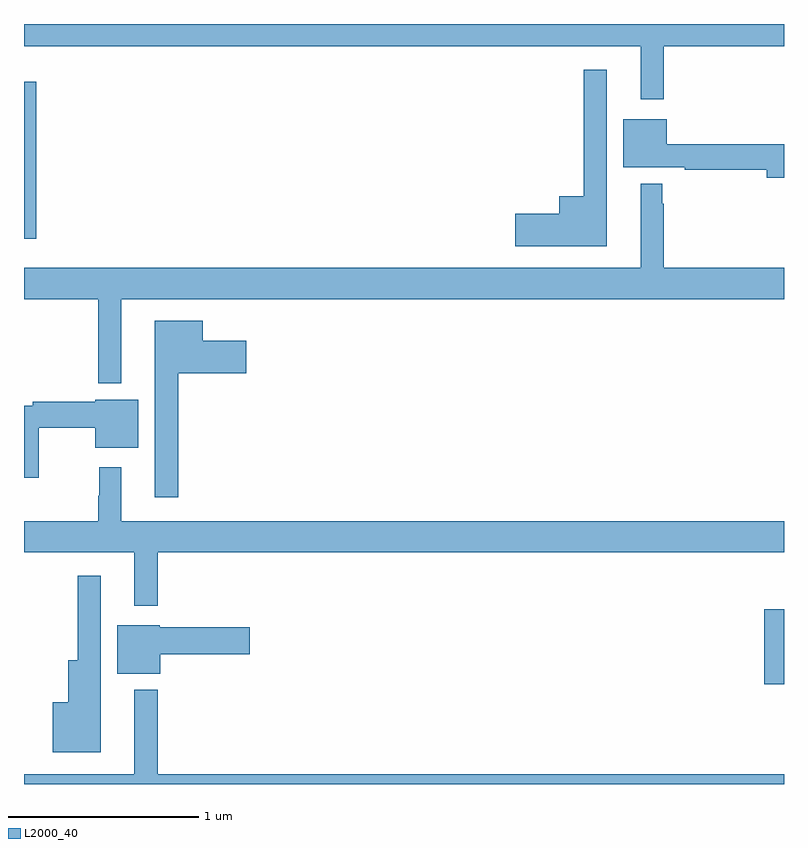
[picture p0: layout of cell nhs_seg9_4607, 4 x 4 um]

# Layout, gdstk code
import gdstk
lib = gdstk.Library(unit=1e-6, precision=1e-09)
def R(c, l, rs):  # rectangles x0, y0, x1, y1
    for r in rs: c.add(gdstk.rectangle(r[:2], r[2:], *l))
def P(c, l, *ps):  # polygons
    for p in ps: c.add(gdstk.Polygon(p, *l))
L2000_40 = (2000, 40)

nhs_seg9_4607 = lib.new_cell('nhs_seg9_4607')
R(nhs_seg9_4607, L2000_40, [(378.896,1229.025,379,1229.419), (375,1231.371,375.065,1232.197)])
P(nhs_seg9_4607, L2000_40, [(375,1232.384),(378.245,1232.384),(378.245,1232.103),(378.367,1232.103),(378.367,1232.384),(379,1232.384),(379,1232.5),(375,1232.5)],
  [(378.067,1232.26),(377.946,1232.26),(377.946,1231.594),(377.816,1231.594),(377.816,1231.502),(377.586,1231.502),(377.586,1231.331),(378.067,1231.331)],
  [(379,1231.868),(378.382,1231.868),(378.382,1231.999),(378.155,1231.999),(378.155,1231.745),(378.478,1231.745),(378.478,1231.732),(378.908,1231.732),(378.908,1231.69),(379,1231.69)],
  [(375.511,1231.052),(379,1231.052),(379,1231.216),(378.367,1231.216),(378.367,1231.553),(378.36,1231.553),(378.36,1231.66),(378.245,1231.66),(378.245,1231.216),(375,1231.216),(375,1231.052),(375.39,1231.052),(375.39,1230.608),(375.511,1230.608)],
  [(375.811,1230.662),(376.171,1230.662),(376.171,1230.832),(375.94,1230.832),(375.94,1230.937),(375.689,1230.937),(375.689,1230.009),(375.811,1230.009)],
  [(375.078,1230.376),(375.374,1230.376),(375.374,1230.269),(375.601,1230.269),(375.601,1230.523),(375.374,1230.523),(375.374,1230.512),(375.046,1230.512),(375.046,1230.492),(375,1230.492),(375,1230.111),(375.078,1230.111)],
  [(375.703,1229.72),(379,1229.72),(379,1229.884),(375.511,1229.884),(375.511,1230.166),(375.397,1230.166),(375.397,1230.017),(375.39,1230.017),(375.39,1229.884),(375,1229.884),(375,1229.72),(375.581,1229.72),(375.581,1229.439),(375.703,1229.439)],
  [(375.403,1229.596),(375.282,1229.596),(375.282,1229.152),(375.233,1229.152),(375.233,1228.93),(375.152,1228.93),(375.152,1228.667),(375.403,1228.667)],
  [(375.718,1229.183),(376.189,1229.183),(376.189,1229.325),(375.714,1229.325),(375.714,1229.335),(375.491,1229.335),(375.491,1229.081),(375.718,1229.081)],
  [(379,1228.552),(375.703,1228.552),(375.703,1228.996),(375.581,1228.996),(375.581,1228.552),(375,1228.552),(375,1228.5),(379,1228.5)])

lib.write_gds('nhs_seg9_4607.gds')
